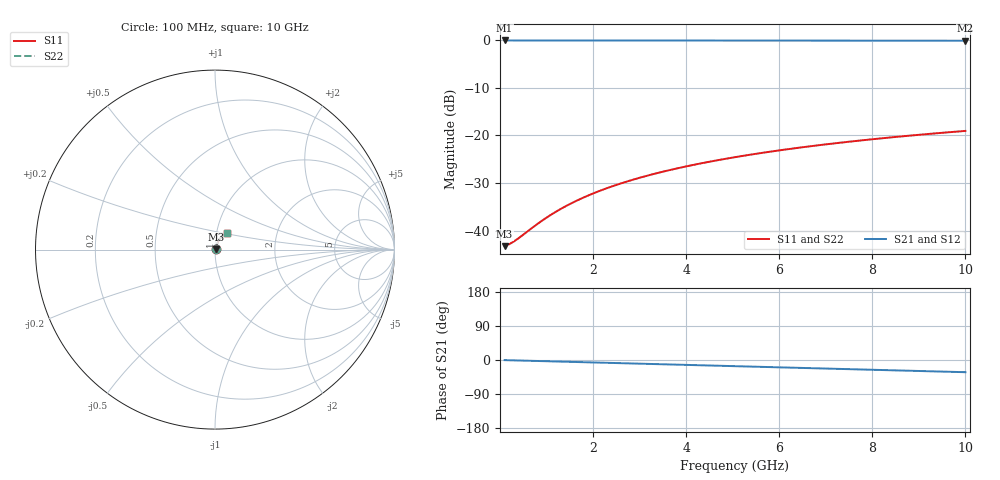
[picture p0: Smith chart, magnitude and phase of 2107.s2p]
# Hz S RI R 50.00
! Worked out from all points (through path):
!   100 points, 100 MHz to 10 GHz, reference 50 ohm
!   highest |S21| = -0.06 dB at 100 MHz (marker M1); lowest = -0.1 dB at 10 GHz (marker M2)
!   group delay of S21, straight-line fit = 8.95 ps
!   lowest |S11| = -43.3 dB at 100 MHz (marker M3), VSWR 1.01, Z = 50.7 + j0.116 ohm
!   |S11| at or under -10 dB: start of sweep to end of sweep
!   |S22| runs from -43.3 to -19.1 dB; largest |S21 - S12| = 0
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1e8  0.00677 0.00114  0.9932 -0.00559  0.9932 -0.00559  0.00677 0.00114
2e8  0.00684 0.00228  0.9931 -0.0112  0.9931 -0.0112  0.00684 0.00228
3e8  0.0069 0.00342  0.993 -0.0168  0.993 -0.0168  0.0069 0.00342
4e8  0.00697 0.00456  0.9929 -0.0224  0.9929 -0.0224  0.00697 0.00456
8e8  0.00735 0.00911  0.992 -0.0447  0.992 -0.0447  0.00735 0.00911
1.1e9  0.00776 0.0125  0.991 -0.0615  0.991 -0.0615  0.00776 0.0125
1.4e9  0.00827 0.0159  0.9897 -0.0782  0.9897 -0.0782  0.00827 0.0159
1.6e9  0.00868 0.0181  0.9887 -0.0893  0.9887 -0.0893  0.00868 0.0181
1.8e9  0.00913 0.0204  0.9876 -0.1005  0.9876 -0.1005  0.00913 0.0204
2.1e9  0.00991 0.0237  0.9856 -0.1171  0.9856 -0.1171  0.00991 0.0237
2.5e9  0.0111 0.0281  0.9826 -0.1393  0.9826 -0.1393  0.0111 0.0281
2.9e9  0.0125 0.0324  0.979 -0.1613  0.979 -0.1613  0.0125 0.0324
3.4e9  0.0145 0.0377  0.9738 -0.1888  0.9738 -0.1888  0.0145 0.0377
3.8e9  0.0164 0.0419  0.9691 -0.2106  0.9691 -0.2106  0.0164 0.0419
4.2e9  0.0184 0.046  0.9639 -0.2323  0.9639 -0.2323  0.0184 0.046
4.6e9  0.0206 0.05  0.9582 -0.2539  0.9582 -0.2539  0.0206 0.05
5.1e9  0.0236 0.0548  0.9503 -0.2806  0.9503 -0.2806  0.0236 0.0548
5.9e9  0.0289 0.0621  0.9362 -0.3228  0.9362 -0.3228  0.0289 0.0621
6.7e9  0.0349 0.0689  0.9201 -0.3643  0.9201 -0.3643  0.0349 0.0689
7.5e9  0.0415 0.0752  0.9021 -0.4049  0.9021 -0.4049  0.0415 0.0752
8.4e9  0.0495 0.0814  0.8797 -0.4495  0.8797 -0.4495  0.0495 0.0814
1e10  0.0651 0.0904  0.8345 -0.5255  0.8345 -0.5255  0.0651 0.0904
